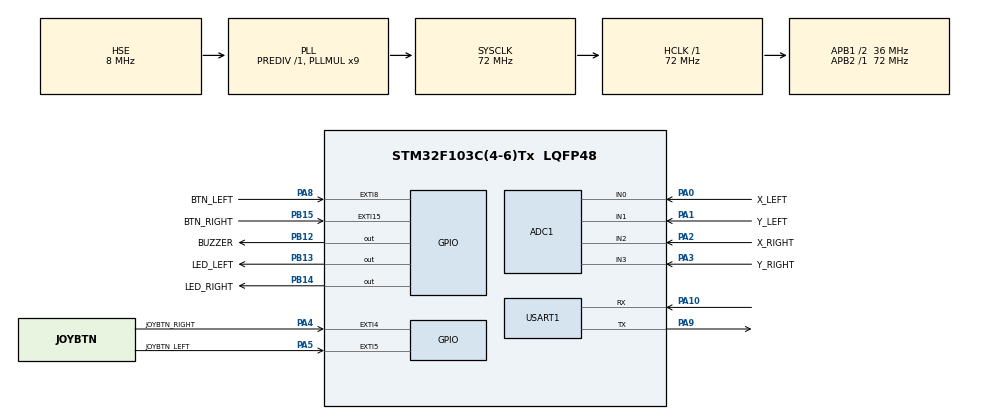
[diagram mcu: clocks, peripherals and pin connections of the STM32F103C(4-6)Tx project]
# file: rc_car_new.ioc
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ADC1.Channel-0\#ChannelRegularConversion=ADC_CHANNEL_0
ADC1.Channel-1\#ChannelRegularConversion=ADC_CHANNEL_1
ADC1.Channel-2\#ChannelRegularConversion=ADC_CHANNEL_2
ADC1.Channel-3\#ChannelRegularConversion=ADC_CHANNEL_3
ADC1.ContinuousConvMode=DISABLE
ADC1.NbrOfConversion=4
ADC1.NbrOfConversionFlag=1
ADC1.Rank-0\#ChannelRegularConversion=1
ADC1.Rank-1\#ChannelRegularConversion=2
ADC1.Rank-2\#ChannelRegularConversion=3
ADC1.Rank-3\#ChannelRegularConversion=4
ADC1.SamplingTime-0\#ChannelRegularConversion=ADC_SAMPLETIME_239CYCLES_5
ADC1.SamplingTime-1\#ChannelRegularConversion=ADC_SAMPLETIME_239CYCLES_5
ADC1.SamplingTime-2\#ChannelRegularConversion=ADC_SAMPLETIME_239CYCLES_5
ADC1.SamplingTime-3\#ChannelRegularConversion=ADC_SAMPLETIME_239CYCLES_5
ADC1.master=1
Dma.ADC1.0.Direction=DMA_PERIPH_TO_MEMORY
Dma.ADC1.0.Instance=DMA1_Channel1
Dma.ADC1.0.MemDataAlignment=DMA_MDATAALIGN_HALFWORD
Dma.ADC1.0.MemInc=DMA_MINC_ENABLE
Dma.ADC1.0.Mode=DMA_NORMAL
Dma.ADC1.0.PeriphDataAlignment=DMA_PDATAALIGN_HALFWORD
Dma.ADC1.0.PeriphInc=DMA_PINC_DISABLE
Dma.ADC1.0.Priority=DMA_PRIORITY_LOW
Dma.Request0=ADC1
Mcu.Family=STM32F1
Mcu.Name=STM32F103C(4-6)Tx
Mcu.Package=LQFP48
NVIC.ADC1_2_IRQn=true\:0\:0\:false\:false\:true\:true\:true\:true
NVIC.DMA1_Channel1_IRQn=true\:0\:0\:false\:false\:true\:false\:true\:true
NVIC.EXTI15_10_IRQn=true\:0\:0\:false\:false\:true\:true\:true\:true
NVIC.EXTI4_IRQn=true\:0\:0\:false\:false\:true\:true\:true\:true
NVIC.EXTI9_5_IRQn=true\:0\:0\:false\:false\:true\:true\:true\:true
NVIC.PriorityGroup=NVIC_PRIORITYGROUP_4
NVIC.USART1_IRQn=true\:0\:0\:false\:false\:true\:true\:true\:true
PA0-WKUP.GPIO_Label=X_LEFT
PA0-WKUP.Signal=ADCx_IN0
PA1.GPIO_Label=Y_LEFT
PA1.Signal=ADCx_IN1
PA10.Mode=Asynchronous
PA10.Signal=USART1_RX
PA13.Mode=Serial_Wire
PA13.Signal=SYS_JTMS-SWDIO
PA14.Mode=Serial_Wire
PA14.Signal=SYS_JTCK-SWCLK
PA2.GPIO_Label=X_RIGHT
PA2.Signal=ADCx_IN2
PA3.GPIO_Label=Y_RIGHT
PA3.Signal=ADCx_IN3
PA4.GPIO_Label=JOYBTN_RIGHT
PA4.GPIO_ModeDefaultEXTI=GPIO_MODE_IT_RISING_FALLING
PA4.Signal=GPXTI4
PA5.GPIO_Label=JOYBTN_LEFT
PA5.GPIO_ModeDefaultEXTI=GPIO_MODE_IT_RISING_FALLING
PA5.Signal=GPXTI5
PA8.GPIO_Label=BTN_LEFT
PA8.GPIO_ModeDefaultEXTI=GPIO_MODE_IT_FALLING
PA8.GPIO_PuPd=GPIO_PULLUP
PA8.Signal=GPXTI8
PA9.Mode=Asynchronous
PA9.Signal=USART1_TX
PB12.GPIO_Label=BUZZER
PB12.Signal=GPIO_Output
PB13.GPIO_Label=LED_LEFT
PB13.Signal=GPIO_Output
PB14.GPIO_Label=LED_RIGHT
PB14.Signal=GPIO_Output
PB15.GPIO_Label=BTN_RIGHT
PB15.GPIO_ModeDefaultEXTI=GPIO_MODE_IT_FALLING
PB15.GPIO_PuPd=GPIO_PULLUP
PB15.Signal=GPXTI15
PD0-OSC_IN.Mode=HSE-External-Oscillator
PD0-OSC_IN.Signal=RCC_OSC_IN
PD1-OSC_OUT.Mode=HSE-External-Oscillator
PD1-OSC_OUT.Signal=RCC_OSC_OUT
ProjectManager.HeapSize=0x200
ProjectManager.StackSize=0x400
ProjectManager.TargetToolchain=STM32CubeIDE
RCC.ADCPresc=RCC_ADCPCLK2_DIV6
RCC.AHBFreq_Value=72000000
RCC.APB1CLKDivider=RCC_HCLK_DIV2
RCC.APB1Freq_Value=36000000
RCC.APB1TimFreq_Value=72000000
RCC.APB2Freq_Value=72000000
RCC.APB2TimFreq_Value=72000000
RCC.HCLKFreq_Value=72000000
RCC.PLLMUL=RCC_PLL_MUL9
RCC.PLLSourceVirtual=RCC_PLLSOURCE_HSE
RCC.SYSCLKFreq_VALUE=72000000
RCC.SYSCLKSource=RCC_SYSCLKSOURCE_PLLCLK
RCC.USBFreq_Value=72000000
SH.ADCx_IN0.0=ADC1_IN0,IN0
SH.ADCx_IN1.0=ADC1_IN1,IN1
SH.ADCx_IN2.0=ADC1_IN2,IN2
SH.ADCx_IN3.0=ADC1_IN3,IN3
USART1.VirtualMode=VM_ASYNC
VP_CRC_VS_CRC.Mode=CRC_Activate
board=custom

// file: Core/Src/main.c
/* USER CODE BEGIN Header */
/**
  ******************************************************************************
  * @file           : main.c
  * @brief          : Main program body
  ******************************************************************************
  * @attention
  *
  * Copyright (c) 2023 STMicroelectronics.
  * All rights reserved.
  *
  * This software is licensed under terms that can be found in the LICENSE file
  * in the root directory of this software component.
  * If no LICENSE file comes with this software, it is provided AS-IS.
  *
  ******************************************************************************
  */
/* USER CODE END Header */
#include "main.h"
#include "adc.h"
#include "crc.h"
#include "dma.h"
#include "usart.h"
#include "gpio.h"

/* USER CODE BEGIN Includes */
#include "data_processing.h"
#include "buzzer.h"
/* USER CODE END Includes */

/* USER CODE BEGIN PV */
uint16_t adc_raw_data[ADC_CHANNELS_NUM];
//uint8_t data_to_transmit[AMOUNT_BYTES_TO_TRANSMIT];
uint8_t joybtn_right_state = 0;
uint8_t joybtn_left_state = 0;
uint8_t btn_left_state = 0;
uint8_t btn_right_state = 0;
uint8_t error_callback = 0;
/* USER CODE END PV */

void SystemClock_Config(void);

int main(void)
{

  /* MCU Configuration--------------------------------------------------------*/

  /* Reset of all peripherals, Initializes the Flash interface and the Systick. */
  HAL_Init();

  /* Configure the system clock */
  SystemClock_Config();

  /* Initialize all configured peripherals */
  MX_GPIO_Init();
  MX_DMA_Init();
  MX_ADC1_Init();
  MX_USART1_UART_Init();
  MX_CRC_Init();
  /* USER CODE BEGIN 2 */
  buzzer_init();
  HAL_ADC_Start_DMA(&hadc1, (uint32_t*)adc_raw_data, ADC_CHANNELS_NUM);
  /* USER CODE END 2 */

  /* Infinite loop */
  /* USER CODE BEGIN WHILE */
  while (1)
  {
	  HAL_ADC_Start_DMA(&hadc1, (uint32_t*)adc_raw_data, ADC_CHANNELS_NUM);
	  uint8_t* joy_data = gpio_joystick_read_in(joybtn_right_state, joybtn_left_state, btn_left_state, btn_right_state);

	  transmit_data_to_usart(adc_raw_data, joy_data);

	  led_control(btn_left_state, btn_right_state);

    /* USER CODE END WHILE */

  }
}

void SystemClock_Config(void)
{
  RCC_OscInitTypeDef RCC_OscInitStruct = {0};
  RCC_ClkInitTypeDef RCC_ClkInitStruct = {0};
  RCC_PeriphCLKInitTypeDef PeriphClkInit = {0};

  /** Initializes the RCC Oscillators according to the specified parameters
  * in the RCC_OscInitTypeDef structure.
  */
  RCC_OscInitStruct.OscillatorType = RCC_OSCILLATORTYPE_HSE;
  RCC_OscInitStruct.HSEState = RCC_HSE_ON;
  RCC_OscInitStruct.HSEPredivValue = RCC_HSE_PREDIV_DIV1;
  RCC_OscInitStruct.HSIState = RCC_HSI_ON;
  RCC_OscInitStruct.PLL.PLLState = RCC_PLL_ON;
  RCC_OscInitStruct.PLL.PLLSource = RCC_PLLSOURCE_HSE;
  RCC_OscInitStruct.PLL.PLLMUL = RCC_PLL_MUL9;
  if (HAL_RCC_OscConfig(&RCC_OscInitStruct) != HAL_OK)
  {
    Error_Handler();
  }

  /** Initializes the CPU, AHB and APB buses clocks
  */
  RCC_ClkInitStruct.ClockType = RCC_CLOCKTYPE_HCLK|RCC_CLOCKTYPE_SYSCLK
                              |RCC_CLOCKTYPE_PCLK1|RCC_CLOCKTYPE_PCLK2;
  RCC_ClkInitStruct.SYSCLKSource = RCC_SYSCLKSOURCE_PLLCLK;
  RCC_ClkInitStruct.AHBCLKDivider = RCC_SYSCLK_DIV1;
  RCC_ClkInitStruct.APB1CLKDivider = RCC_HCLK_DIV2;
  RCC_ClkInitStruct.APB2CLKDivider = RCC_HCLK_DIV1;

  if (HAL_RCC_ClockConfig(&RCC_ClkInitStruct, FLASH_LATENCY_2) != HAL_OK)
  {
    Error_Handler();
  }
  PeriphClkInit.PeriphClockSelection = RCC_PERIPHCLK_ADC;
  PeriphClkInit.AdcClockSelection = RCC_ADCPCLK2_DIV6;
  if (HAL_RCCEx_PeriphCLKConfig(&PeriphClkInit) != HAL_OK)
  {
    Error_Handler();
  }
}

/* USER CODE BEGIN 4 */

void HAL_UART_RxCpltCallback(UART_HandleTypeDef *huart)
{
	if (huart->Instance == USART1)
	{
		error_callback = 1;
	}
}

void HAL_GPIO_EXTI_Callback(uint16_t GPIO_Pin)
{
	if (GPIO_Pin == BTN_RIGHT_Pin)
	{
		btn_right_state = !btn_right_state;
	}
	if (GPIO_Pin == BTN_LEFT_Pin)
	{
		btn_left_state = !btn_left_state;
	}
	if (GPIO_Pin == JOYBTN_LEFT_Pin)
	{
		joybtn_left_state = !joybtn_left_state;
	}
	if (GPIO_Pin == JOYBTN_RIGHT_Pin)
	{
		joybtn_right_state = !joybtn_right_state;
	}
}

/* USER CODE END 4 */

void Error_Handler(void)
{
  __disable_irq();
  while (1)
  {
  }
}
